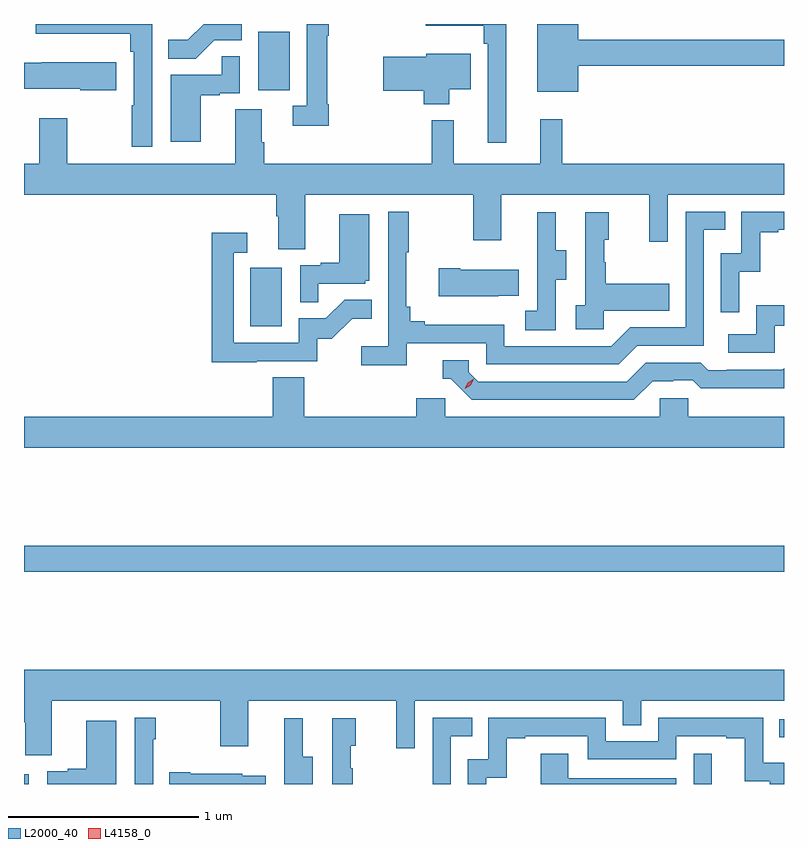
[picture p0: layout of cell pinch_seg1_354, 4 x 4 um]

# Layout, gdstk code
import gdstk
lib = gdstk.Library(unit=1e-6, precision=1e-09)
def R(c, l, rs):  # rectangles x0, y0, x1, y1
    for r in rs: c.add(gdstk.rectangle(r[:2], r[2:], *l))
def P(c, l, *ps):  # polygons
    for p in ps: c.add(gdstk.Polygon(p, *l))
L2000_40 = (2000, 40)
L4158_0 = (4158, 0)

pinch_seg1_354 = lib.new_cell('pinch_seg1_354')
R(pinch_seg1_354, L2000_40, [(980.866,552.627,980.89,552.679), (984.39,552.627,984.487,552.787), (984.841,552.872,984.866,552.969), (980.866,553.744,984.866,553.88), (982.058,555.036,982.222,555.343), (982.1,556.278,982.264,556.585)])
P(pinch_seg1_354, L2000_40, [(981.54,556.627),(980.928,556.627),(980.928,556.577),(981.424,556.577),(981.424,556.481),(981.444,556.481),(981.444,556.199),(981.432,556.199),(981.432,555.981),(981.54,555.981)],
  [(983.404,556.627),(982.98,556.627),(982.98,556.619),(983.287,556.619),(983.287,556.523),(983.307,556.523),(983.307,556.002),(983.404,556.002)],
  [(982.469,556.204),(982.462,556.204),(982.462,556.564),(982.469,556.564),(982.469,556.627),(982.353,556.627),(982.353,556.197),(982.281,556.197),(982.281,556.092),(982.469,556.092)],
  [(983.782,556.408),(984.866,556.408),(984.866,556.544),(983.782,556.544),(983.782,556.627),(983.567,556.627),(983.567,556.271),(983.782,556.271)],
  [(981.867,556.542),(982.011,556.542),(982.011,556.627),(981.813,556.627),(981.729,556.543),(981.625,556.543),(981.625,556.444),(981.769,556.444)],
  [(983.104,556.283),(983.218,556.283),(983.218,556.471),(982.982,556.471),(982.982,556.454),(982.758,556.454),(982.758,556.276),(982.97,556.276),(982.97,556.205),(983.104,556.205)],
  [(981.796,556.251),(981.896,556.251),(981.896,556.263),(982.002,556.263),(982.002,556.457),(981.907,556.457),(981.907,556.359),(981.638,556.359),(981.638,556.008),(981.796,556.008)],
  [(981.352,556.426),(980.959,556.426),(980.959,556.423),(980.866,556.423),(980.866,556.286),(981.161,556.286),(981.161,556.279),(981.352,556.279)],
  [(982.345,555.728),(983.23,555.728),(983.23,555.489),(983.377,555.489),(983.377,555.728),(984.158,555.728),(984.158,555.48),(984.255,555.48),(984.255,555.728),(984.866,555.728),(984.866,555.892),(983.699,555.892),(983.699,556.126),(983.582,556.126),(983.582,555.892),(983.129,555.892),(983.129,556.12),(983.011,556.12),(983.011,555.892),(982.13,555.892),(982.13,556.004),(982.117,556.004),(982.117,556.178),(981.977,556.178),(981.977,555.892),(981.093,555.892),(981.093,556.132),(980.945,556.132),(980.945,555.892),(980.866,555.892),(980.866,555.728),(982.193,555.728),(982.193,555.616),(982.205,555.616),(982.205,555.442),(982.345,555.442)],
  [(982.88,554.946),(983.298,554.946),(983.298,554.835),(983.995,554.835),(984.094,554.934),(984.444,554.934),(984.444,555.543),(984.557,555.543),(984.557,555.639),(984.348,555.639),(984.348,555.03),(984.057,555.03),(983.958,554.931),(983.394,554.931),(983.394,555.043),(982.975,555.043),(982.975,555.062),(982.898,555.062),(982.898,555.139),(982.879,555.139),(982.879,555.427),(982.891,555.427),(982.891,555.64),(982.782,555.64),(982.782,554.932),(982.641,554.932),(982.641,554.83),(982.88,554.83)],
  [(984.63,555.323),(984.74,555.323),(984.74,555.531),(984.835,555.531),(984.835,555.543),(984.866,555.543),(984.866,555.639),(984.642,555.639),(984.642,555.42),(984.534,555.42),(984.534,555.111),(984.63,555.111)],
  [(983.664,555.28),(983.719,555.28),(983.719,555.435),(983.665,555.435),(983.665,555.637),(983.567,555.637),(983.567,555.423),(983.568,555.423),(983.568,555.119),(983.505,555.119),(983.505,555.016),(983.664,555.016)],
  [(983.916,555.119),(984.263,555.119),(984.263,555.259),(983.929,555.259),(983.929,555.374),(983.919,555.374),(983.919,555.492),(983.944,555.492),(983.944,555.637),(983.82,555.637),(983.82,555.146),(983.769,555.146),(983.769,555.021),(983.916,555.021)],
  [(982.415,555.261),(982.662,555.261),(982.662,555.276),(982.684,555.276),(982.684,555.625),(982.526,555.625),(982.526,555.37),(982.427,555.37),(982.427,555.357),(982.32,555.357),(982.32,555.163),(982.415,555.163)],
  [(982.091,554.853),(982.41,554.853),(982.41,554.97),(982.486,554.97),(982.593,555.077),(982.697,555.077),(982.697,555.176),(982.553,555.176),(982.455,555.078),(982.311,555.078),(982.311,554.949),(981.969,554.949),(981.969,555.423),(982.042,555.423),(982.042,555.529),(981.853,555.529),(981.853,554.848),(982.091,554.848)],
  [(983.363,555.197),(983.471,555.197),(983.471,555.334),(983.161,555.334),(983.161,555.342),(983.049,555.342),(983.049,555.194),(983.363,555.194)],
  [(984.816,555.039),(984.866,555.039),(984.866,555.148),(984.72,555.148),(984.72,554.994),(984.573,554.994),(984.573,554.898),(984.816,554.898)],
  [(984.175,554.748),(984.282,554.748),(984.282,554.751),(984.385,554.751),(984.427,554.709),(984.66,554.709),(984.66,554.711),(984.866,554.711),(984.866,554.816),(984.858,554.808),(984.565,554.808),(984.565,554.805),(984.466,554.805),(984.427,554.844),(984.138,554.844),(984.039,554.745),(983.256,554.745),(983.208,554.793),(983.208,554.856),(983.069,554.856),(983.069,554.76),(983.112,554.76),(983.223,554.649),(984.076,554.649)],
  [(984.866,554.56),(984.363,554.56),(984.363,554.658),(984.213,554.658),(984.213,554.56),(983.082,554.56),(983.082,554.658),(982.931,554.658),(982.931,554.56),(982.34,554.56),(982.34,554.768),(982.175,554.768),(982.175,554.56),(980.866,554.56),(980.866,554.396),(984.866,554.396)],
  [(981.013,553.064),(981.898,553.064),(981.898,552.825),(982.045,552.825),(982.045,553.064),(982.826,553.064),(982.826,552.816),(982.923,552.816),(982.923,553.064),(984.018,553.064),(984.018,552.937),(984.114,552.937),(984.114,553.064),(984.866,553.064),(984.866,553.228),(980.866,553.228),(980.866,552.952),(980.873,552.952),(980.873,552.778),(981.013,552.778)],
  [(981.546,552.863),(981.559,552.863),(981.559,552.976),(981.45,552.976),(981.45,552.627),(981.546,552.627)],
  [(983.298,552.659),(983.408,552.659),(983.408,552.867),(983.503,552.867),(983.503,552.879),(983.832,552.879),(983.832,552.756),(984.3,552.756),(984.3,552.879),(984.563,552.879),(984.563,552.867),(984.659,552.867),(984.659,552.641),(984.792,552.641),(984.792,552.627),(984.866,552.627),(984.866,552.739),(984.756,552.739),(984.756,552.975),(984.204,552.975),(984.204,552.852),(983.928,552.852),(983.928,552.975),(983.31,552.975),(983.31,552.756),(983.202,552.756),(983.202,552.627),(983.298,552.627)],
  [(983.112,552.879),(983.225,552.879),(983.225,552.975),(983.016,552.975),(983.016,552.627),(983.112,552.627)],
  [(982.387,552.771),(982.333,552.771),(982.333,552.973),(982.235,552.973),(982.235,552.759),(982.236,552.759),(982.236,552.627),(982.387,552.627)],
  [(982.597,552.71),(982.587,552.71),(982.587,552.828),(982.612,552.828),(982.612,552.973),(982.488,552.973),(982.488,552.627),(982.597,552.627)],
  [(981.352,552.961),(981.194,552.961),(981.194,552.706),(981.095,552.706),(981.095,552.693),(980.988,552.693),(980.988,552.627),(981.352,552.627)],
  [(984.3,552.657),(983.731,552.657),(983.731,552.787),(983.587,552.787),(983.587,552.627),(984.3,552.627)],
  [(982.139,552.67),(982.014,552.67),(982.014,552.682),(981.742,552.682),(981.742,552.69),(981.631,552.69),(981.631,552.627),(982.139,552.627)])
P(pinch_seg1_354, L4158_0, [(983.186,554.706),(983.186,554.706),(983.201,554.739),(983.232,554.759),(983.232,554.759),(983.232,554.759),(983.216,554.726),(983.186,554.706)])

lib.write_gds('pinch_seg1_354.gds')
